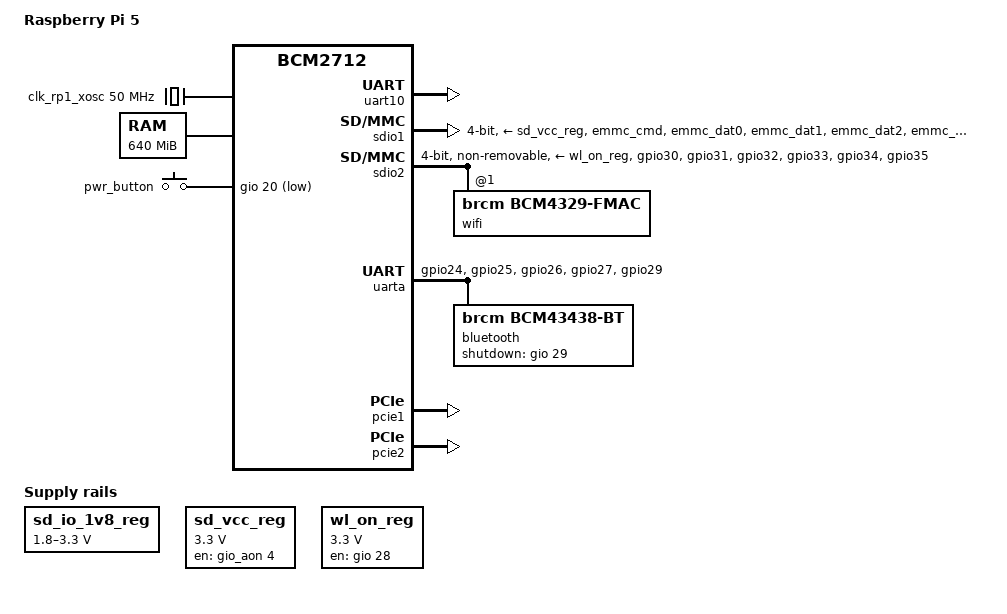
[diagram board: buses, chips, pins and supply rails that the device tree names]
// SPDX-License-Identifier: (GPL-2.0 OR MIT)
/dts-v1/;

#include <dt-bindings/gpio/gpio.h>
#include <dt-bindings/input/input.h>
#include "bcm2712.dtsi"

/ {
	compatible = "raspberrypi,5-model-b", "brcm,bcm2712";
	model = "Raspberry Pi 5";

	aliases {
		serial10 = &uart10;
	};

	chosen: chosen {
		stdout-path = "serial10:115200n8";
	};

	clk_rp1_xosc: clock-50000000 {
		compatible = "fixed-clock";
		#clock-cells = <0>;
		clock-output-names = "rp1-xosc";
		clock-frequency = <50000000>;
	};

	/* Will be filled by the bootloader */
	memory@0 {
		device_type = "memory";
		reg = <0 0 0 0x28000000>;
	};

	gpio-keys {
		compatible = "gpio-keys";
		pinctrl-names = "default";
		pinctrl-0 = <&pwr_button_default>;
		status = "okay";

		power_button: power-button {
			label = "pwr_button";
			linux,code = <KEY_POWER>;
			gpios = <&gio 20 GPIO_ACTIVE_LOW>;
			debounce-interval = <50>;
		};
	};

	sd_io_1v8_reg: sd-io-1v8-reg {
		compatible = "regulator-gpio";
		regulator-name = "vdd-sd-io";
		regulator-min-microvolt = <1800000>;
		regulator-max-microvolt = <3300000>;
		regulator-boot-on;
		regulator-always-on;
		regulator-settling-time-us = <5000>;
		gpios = <&gio_aon 3 GPIO_ACTIVE_HIGH>;
		states = <1800000 1>,
			 <3300000 0>;
	};

	sd_vcc_reg: sd-vcc-reg {
		compatible = "regulator-fixed";
		regulator-name = "vcc-sd";
		regulator-min-microvolt = <3300000>;
		regulator-max-microvolt = <3300000>;
		regulator-boot-on;
		enable-active-high;
		gpios = <&gio_aon 4 GPIO_ACTIVE_HIGH>;
	};

	wl_on_reg: wl-on-reg {
		compatible = "regulator-fixed";
		regulator-name = "wl-on-regulator";
		regulator-min-microvolt = <3300000>;
		regulator-max-microvolt = <3300000>;
		pinctrl-0 = <&wl_on_default>;
		pinctrl-names = "default";
		gpio = <&gio 28 GPIO_ACTIVE_HIGH>;
		startup-delay-us = <150000>;
		enable-active-high;
	};
};

&pinctrl {
	bt_shutdown_default: bt-shutdown-default-state {
		function = "gpio";
		pins = "gpio29";
	};

	emmc_sd_default: emmc-sd-default-state {
		pins = "emmc_cmd", "emmc_dat0", "emmc_dat1", "emmc_dat2", "emmc_dat3";
		bias-pull-up;
	};

	pwr_button_default: pwr-button-default-state {
		function = "gpio";
		pins = "gpio20";
		bias-pull-up;
	};

	sdio2_30_default: sdio2-30-default-state {
		clk-pins {
			function = "sd2";
			pins = "gpio30";
			bias-disable;
		};
		cmd-pins {
			function = "sd2";
			pins = "gpio31";
			bias-pull-up;
		};
		dat-pins {
			function = "sd2";
			pins = "gpio32", "gpio33", "gpio34", "gpio35";
			bias-pull-up;
		};
	};

	uarta_24_default: uarta-24-default-state {
		rts-pins {
			function = "uart0";
			pins = "gpio24";
			bias-disable;
		};
		cts-pins {
			function = "uart0";
			pins = "gpio25";
			bias-pull-up;
		};
		txd-pins {
			function = "uart0";
			pins = "gpio26";
			bias-disable;
		};
		rxd-pins {
			function = "uart0";
			pins = "gpio27";
			bias-pull-up;
		};
	};

	wl_on_default: wl-on-default-state {
		function = "gpio";
		pins = "gpio28";
	};
};

&pinctrl_aon {
	emmc_aon_cd_default: emmc-aon-cd-default-state {
		function = "sd_card_g";
		pins = "aon_gpio5";
		bias-pull-up;
	};
};

/* The Debug UART, on Rpi5 it's on JST-SH 1.0mm 3-pin connector
 * labeled "UART", i.e. the interface with the system console.
 */
&uart10 {
	status = "okay";
};

/* SDIO1 is used to drive the SD card */
&sdio1 {
	pinctrl-0 = <&emmc_sd_default>, <&emmc_aon_cd_default>;
	pinctrl-names = "default";
	vqmmc-supply = <&sd_io_1v8_reg>;
	vmmc-supply = <&sd_vcc_reg>;
	bus-width = <4>;
	sd-uhs-sdr50;
	sd-uhs-ddr50;
	sd-uhs-sdr104;
	cd-gpios = <&gio_aon 5 GPIO_ACTIVE_LOW>;
};

&sdio2 {
	pinctrl-0 = <&sdio2_30_default>;
	pinctrl-names = "default";
	bus-width = <4>;
	vmmc-supply = <&wl_on_reg>;
	sd-uhs-ddr50;
	non-removable;
	status = "okay";
	#address-cells = <1>;
	#size-cells = <0>;

	wifi: wifi@1 {
		reg = <1>;
		compatible = "brcm,bcm4329-fmac";
	};
};

&soc {
	firmware: firmware {
		compatible = "raspberrypi,bcm2835-firmware", "simple-mfd";
		#address-cells = <1>;
		#size-cells = <1>;

		mboxes = <&mailbox>;
		dma-ranges;

		firmware_clocks: clocks {
			compatible = "raspberrypi,firmware-clocks";
			#clock-cells = <1>;
		};

		reset: reset {
			compatible = "raspberrypi,firmware-reset";
			#reset-cells = <1>;
		};
	};

	power: power {
		compatible = "raspberrypi,bcm2835-power";
		firmware = <&firmware>;
		#power-domain-cells = <1>;
	};
};

/* uarta communicates with the BT module */
&uarta {
	uart-has-rtscts;
	pinctrl-0 = <&uarta_24_default &bt_shutdown_default>;
	pinctrl-names = "default";
	status = "okay";

	bluetooth: bluetooth {
		compatible = "brcm,bcm43438-bt";
		max-speed = <3000000>;
		shutdown-gpios = <&gio 29 GPIO_ACTIVE_HIGH>;
	};
};

&hvs {
	clocks = <&firmware_clocks 4>, <&firmware_clocks 16>;
	clock-names = "core", "disp";
};

&hdmi0 {
	clocks = <&firmware_clocks 13>, <&firmware_clocks 14>, <&dvp 0>, <&clk_27MHz>;
	clock-names = "hdmi", "bvb", "audio", "cec";
};

&hdmi1 {
	clocks = <&firmware_clocks 13>, <&firmware_clocks 14>, <&dvp 1>, <&clk_27MHz>;
	clock-names = "hdmi", "bvb", "audio", "cec";
};

&pcie1 {
	status = "okay";
};

&pcie2 {
	status = "okay";
};
